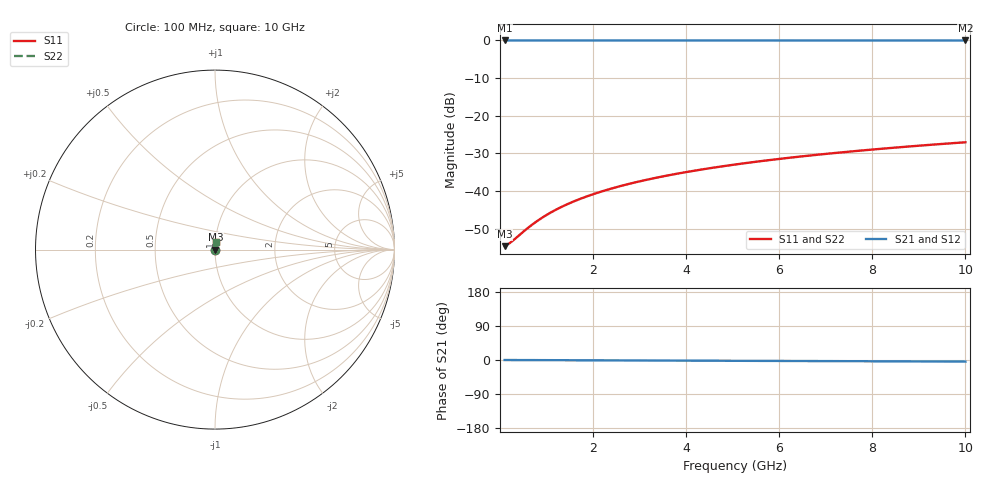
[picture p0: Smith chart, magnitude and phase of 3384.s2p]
# Hz S RI R 50.00
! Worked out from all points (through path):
!   100 points, 100 MHz to 10 GHz, reference 50 ohm
!   highest |S21| = -0.02 dB at 100 MHz (marker M1); lowest = 0.0 dB at 10 GHz (marker M2)
!   lowest |S11| = -54.6 dB at 100 MHz (marker M3), VSWR 1.00, Z = 50.2 + j0.0444 ohm
!   |S11| at or under -10 dB: start of sweep to end of sweep
!   |S22| runs from -54.6 to -27.0 dB; largest |S21 - S12| = 0
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1e8  0.0018 0.000442  0.9982 -0.000727  0.9982 -0.000727  0.0018 0.000442
2e8  0.00181 0.000885  0.9982 -0.00145  0.9982 -0.00145  0.00181 0.000885
3e8  0.00182 0.00133  0.9982 -0.00218  0.9982 -0.00218  0.00182 0.00133
6e8  0.00185 0.00265  0.9981 -0.00436  0.9981 -0.00436  0.00185 0.00265
7e8  0.00186 0.0031  0.9981 -0.00509  0.9981 -0.00509  0.00186 0.0031
8e8  0.00187 0.00354  0.9981 -0.00582  0.9981 -0.00582  0.00187 0.00354
1e9  0.00189 0.00442  0.9981 -0.00727  0.9981 -0.00727  0.00189 0.00442
1.2e9  0.00191 0.00531  0.9981 -0.00873  0.9981 -0.00873  0.00191 0.00531
1.4e9  0.00193 0.00619  0.9981 -0.0102  0.9981 -0.0102  0.00193 0.00619
1.6e9  0.00196 0.00708  0.998 -0.0116  0.998 -0.0116  0.00196 0.00708
1.8e9  0.00198 0.00796  0.998 -0.0131  0.998 -0.0131  0.00198 0.00796
2.1e9  0.00203 0.00929  0.9979 -0.0153  0.9979 -0.0153  0.00203 0.00929
2.5e9  0.0021 0.0111  0.9979 -0.0182  0.9979 -0.0182  0.0021 0.0111
2.9e9  0.00217 0.0128  0.9978 -0.0211  0.9978 -0.0211  0.00217 0.0128
3.4e9  0.00229 0.015  0.9977 -0.0247  0.9977 -0.0247  0.00229 0.015
4.2e9  0.0025 0.0186  0.9974 -0.0305  0.9974 -0.0305  0.0025 0.0186
5.1e9  0.00278 0.0225  0.9971 -0.0371  0.9971 -0.0371  0.00278 0.0225
5.9e9  0.00308 0.0261  0.9968 -0.0429  0.9968 -0.0429  0.00308 0.0261
6.7e9  0.00341 0.0296  0.9964 -0.0487  0.9964 -0.0487  0.00341 0.0296
7.5e9  0.00379 0.0331  0.996 -0.0545  0.996 -0.0545  0.00379 0.0331
8.4e9  0.00427 0.0371  0.9954 -0.0611  0.9954 -0.0611  0.00427 0.0371
1e10  0.00524 0.0441  0.9943 -0.0727  0.9943 -0.0727  0.00524 0.0441
